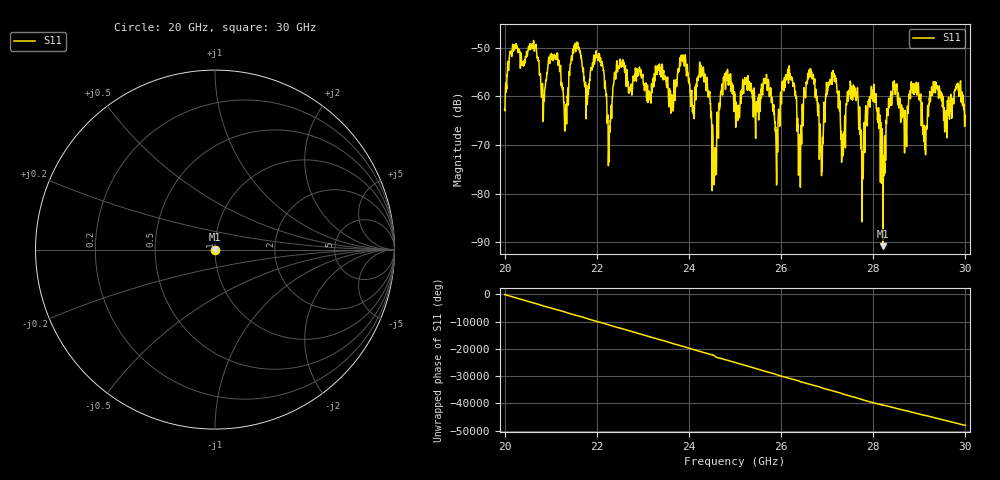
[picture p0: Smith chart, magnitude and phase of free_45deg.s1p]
#  HZ  S  RI  R  50.00
! Rohde & Schwarz ZVA40 4Ports - Version 3.90 - 1145.1110k42 SN: 100403
! Date: 2023-09-30 08:13:43
! Measurement: S12
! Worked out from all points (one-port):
!   5001 points, 20 GHz to 30 GHz, reference 50 ohm
!   lowest |S11| = -90.8 dB at 28.21 GHz (marker M1), VSWR 1.00, Z = 50 + j0.00273 ohm
!   |S11| at or under -10 dB: start of sweep to end of sweep
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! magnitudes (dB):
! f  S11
! 20 GHz  -62.7
! 20.22 GHz  -50.0
! 21.25 GHz  -57.9
! 21.55 GHz  -50.3
! 21.79 GHz  -59.8
! 22.02 GHz  -52.6
! 22.27 GHz  -67.2
! 22.5 GHz  -52.6
! 23.75 GHz  -55.6
! 24.31 GHz  -53.9
! 24.55 GHz  -77.5
! 24.73 GHz  -59.5
! 25 GHz  -59.8
! 25.68 GHz  -55.4
! 25.91 GHz  -76.9
! 26.25 GHz  -56.9
! 26.4 GHz  -69.7
! 26.62 GHz  -54.8
! 26.87 GHz  -74.1
! 27.1 GHz  -55.1
! 27.35 GHz  -72.2
! 27.5 GHz  -57.1
! 27.77 GHz  -72.3
! 28.01 GHz  -58.1
! 28.21 GHz  -90.8
! 28.47 GHz  -58.6
! 28.75 GHz  -62.6
! 30 GHz  -64.2
